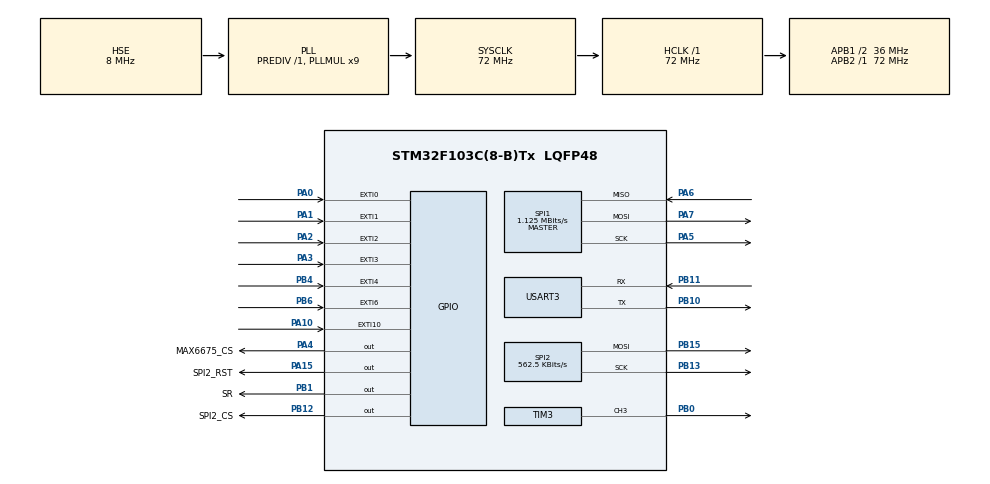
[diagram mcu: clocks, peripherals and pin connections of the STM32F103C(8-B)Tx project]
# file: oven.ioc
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Dma.Request0=SPI1_RX
Dma.Request1=SPI1_TX
Dma.SPI1_RX.0.Direction=DMA_PERIPH_TO_MEMORY
Dma.SPI1_RX.0.Instance=DMA1_Channel2
Dma.SPI1_RX.0.MemDataAlignment=DMA_MDATAALIGN_BYTE
Dma.SPI1_RX.0.MemInc=DMA_MINC_ENABLE
Dma.SPI1_RX.0.Mode=DMA_NORMAL
Dma.SPI1_RX.0.PeriphDataAlignment=DMA_PDATAALIGN_BYTE
Dma.SPI1_RX.0.PeriphInc=DMA_PINC_DISABLE
Dma.SPI1_RX.0.Priority=DMA_PRIORITY_VERY_HIGH
Dma.SPI1_TX.1.Direction=DMA_MEMORY_TO_PERIPH
Dma.SPI1_TX.1.Instance=DMA1_Channel3
Dma.SPI1_TX.1.MemDataAlignment=DMA_MDATAALIGN_BYTE
Dma.SPI1_TX.1.MemInc=DMA_MINC_ENABLE
Dma.SPI1_TX.1.Mode=DMA_NORMAL
Dma.SPI1_TX.1.PeriphDataAlignment=DMA_PDATAALIGN_BYTE
Dma.SPI1_TX.1.PeriphInc=DMA_PINC_DISABLE
Dma.SPI1_TX.1.Priority=DMA_PRIORITY_VERY_HIGH
Mcu.Family=STM32F1
Mcu.Name=STM32F103C(8-B)Tx
Mcu.Package=LQFP48
NVIC.DMA1_Channel2_IRQn=true\:14\:0\:true\:false\:true\:false\:true\:true
NVIC.DMA1_Channel3_IRQn=true\:14\:0\:true\:false\:true\:false\:true\:true
NVIC.EXTI0_IRQn=true\:15\:0\:true\:false\:true\:true\:true\:true
NVIC.EXTI15_10_IRQn=true\:15\:0\:true\:false\:true\:true\:true\:true
NVIC.EXTI1_IRQn=true\:15\:0\:true\:false\:true\:true\:true\:true
NVIC.EXTI2_IRQn=true\:15\:0\:true\:false\:true\:true\:true\:true
NVIC.EXTI3_IRQn=true\:15\:0\:true\:false\:true\:true\:true\:true
NVIC.EXTI4_IRQn=true\:15\:0\:true\:false\:true\:true\:true\:true
NVIC.EXTI9_5_IRQn=true\:15\:0\:true\:false\:true\:true\:true\:true
NVIC.PriorityGroup=NVIC_PRIORITYGROUP_4
NVIC.RTC_IRQn=true\:15\:0\:true\:false\:true\:true\:true\:true
NVIC.TIM3_IRQn=true\:15\:0\:true\:false\:true\:true\:true\:true
NVIC.TIM4_IRQn=true\:15\:0\:true\:false\:true\:true\:true\:true
NVIC.USART3_IRQn=true\:14\:0\:true\:false\:true\:true\:false\:true
PA0-WKUP.GPIO_ModeDefaultEXTI=GPIO_MODE_IT_RISING_FALLING
PA0-WKUP.GPIO_PuPd=GPIO_PULLUP
PA0-WKUP.Signal=GPXTI0
PA1.GPIO_ModeDefaultEXTI=GPIO_MODE_IT_RISING_FALLING
PA1.GPIO_PuPd=GPIO_PULLUP
PA1.Signal=GPXTI1
PA10.GPIO_ModeDefaultEXTI=GPIO_MODE_IT_FALLING
PA10.Signal=GPXTI10
PA13.Mode=Serial_Wire
PA13.Signal=SYS_JTMS-SWDIO
PA14.Mode=Serial_Wire
PA14.Signal=SYS_JTCK-SWCLK
PA15.GPIO_Label=SPI2_RST
PA15.GPIO_PuPd=GPIO_NOPULL
PA15.GPIO_Speed=GPIO_SPEED_FREQ_HIGH
PA15.PinState=GPIO_PIN_SET
PA15.Signal=GPIO_Output
PA2.GPIO_ModeDefaultEXTI=GPIO_MODE_IT_RISING_FALLING
PA2.GPIO_PuPd=GPIO_PULLUP
PA2.Signal=GPXTI2
PA3.GPIO_ModeDefaultEXTI=GPIO_MODE_IT_RISING_FALLING
PA3.GPIO_PuPd=GPIO_PULLUP
PA3.Signal=GPXTI3
PA4.GPIO_Label=MAX6675_CS
PA4.GPIO_Speed=GPIO_SPEED_FREQ_HIGH
PA4.Signal=GPIO_Output
PA5.Mode=Full_Duplex_Master
PA5.Signal=SPI1_SCK
PA6.Mode=Full_Duplex_Master
PA6.Signal=SPI1_MISO
PA7.Mode=Full_Duplex_Master
PA7.Signal=SPI1_MOSI
PB0.GPIO_Speed=GPIO_SPEED_FREQ_HIGH
PB0.Signal=S_TIM3_CH3
PB1.GPIO_Label=SR
PB1.Signal=GPIO_Output
PB10.Mode=Asynchronous
PB10.Signal=USART3_TX
PB11.Mode=Asynchronous
PB11.Signal=USART3_RX
PB12.GPIO_Label=SPI2_CS
PB12.GPIO_PuPd=GPIO_NOPULL
PB12.GPIO_Speed=GPIO_SPEED_FREQ_HIGH
PB12.PinState=GPIO_PIN_SET
PB12.Signal=GPIO_Output
PB13.Mode=TX_Only_Simplex_Unidirect_Master
PB13.Signal=SPI2_SCK
PB15.Mode=TX_Only_Simplex_Unidirect_Master
PB15.Signal=SPI2_MOSI
PB4.GPIO_ModeDefaultEXTI=GPIO_MODE_IT_RISING_FALLING
PB4.GPIO_PuPd=GPIO_PULLUP
PB4.Signal=GPXTI4
PB6.GPIO_ModeDefaultEXTI=GPIO_MODE_IT_FALLING
PB6.Signal=GPXTI6
PC14-OSC32_IN.Mode=LSE-External-Oscillator
PC14-OSC32_IN.Signal=RCC_OSC32_IN
PC15-OSC32_OUT.Mode=LSE-External-Oscillator
PC15-OSC32_OUT.Signal=RCC_OSC32_OUT
PD0-OSC_IN.Mode=HSE-External-Oscillator
PD0-OSC_IN.Signal=RCC_OSC_IN
PD1-OSC_OUT.Mode=HSE-External-Oscillator
PD1-OSC_OUT.Signal=RCC_OSC_OUT
ProjectManager.HeapSize=0x200
ProjectManager.StackSize=0x400
ProjectManager.TargetToolchain=STM32CubeIDE
RCC.AHBFreq_Value=72000000
RCC.APB1CLKDivider=RCC_HCLK_DIV2
RCC.APB1Freq_Value=36000000
RCC.APB1TimFreq_Value=72000000
RCC.APB2Freq_Value=72000000
RCC.APB2TimFreq_Value=72000000
RCC.HCLKFreq_Value=72000000
RCC.PLLMUL=RCC_PLL_MUL9
RCC.PLLSourceVirtual=RCC_PLLSOURCE_HSE
RCC.RTCClockSelection=RCC_RTCCLKSOURCE_LSE
RCC.SYSCLKFreq_VALUE=72000000
RCC.SYSCLKSource=RCC_SYSCLKSOURCE_PLLCLK
RCC.USBFreq_Value=72000000
RTC.Format=RTC_FORMAT_BIN
RTC.OutPut=RTC_OUTPUTSOURCE_ALARM
SH.S_TIM3_CH3.0=TIM3_CH3,PWM Generation3 CH3
SPI1.BaudRatePrescaler=SPI_BAUDRATEPRESCALER_64
SPI1.CRCCalculation=SPI_CRCCALCULATION_DISABLE
SPI1.CalculateBaudRate=1.125 MBits/s
SPI1.DataSize=SPI_DATASIZE_8BIT
SPI1.Direction=SPI_DIRECTION_2LINES
SPI1.Mode=SPI_MODE_MASTER
SPI1.VirtualType=VM_MASTER
SPI2.BaudRatePrescaler=SPI_BAUDRATEPRESCALER_64
SPI2.CLKPhase=SPI_PHASE_2EDGE
SPI2.CRCCalculation=SPI_CRCCALCULATION_DISABLE
SPI2.CalculateBaudRate=562.5 KBits/s
SPI2.Direction=SPI_DIRECTION_2LINES
SPI2.Mode=SPI_MODE_MASTER
SPI2.VirtualType=VM_MASTER
TIM3.Channel-PWM\ Generation3\ CH3=TIM_CHANNEL_3
TIM3.OCMode_PWM-PWM\ Generation3\ CH3=TIM_OCMODE_PWM1
TIM3.Prescaler=71
TIM3.TIM_MasterOutputTrigger=TIM_TRGO_RESET
TIM4.Period=548
TIM4.Prescaler=65535
TIM4.TIM_MasterOutputTrigger=TIM_TRGO_UPDATE
USART3.VirtualMode=VM_ASYNC
VP_RTC_VS_RTC_Activate.Mode=RTC_Enabled
VP_RTC_VS_RTC_Calendar.Mode=RTC_Calendar
VP_TIM3_VS_ClockSourceINT.Mode=Internal
VP_TIM4_VS_ClockSourceINT.Mode=Internal
board=custom

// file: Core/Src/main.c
/* USER CODE BEGIN Header */
/**
 ******************************************************************************
 * @file           : main.c
 * @brief          : Main program body
 ******************************************************************************
 * @attention
 *
 * <h2><center>&copy; Copyright (c) 2020 STMicroelectronics.
 * All rights reserved.</center></h2>
 *
 * This software component is licensed by ST under BSD 3-Clause license,
 * the "License"; You may not use this file except in compliance with the
 * License. You may obtain a copy of the License at:
 *                        opensource.org/licenses/BSD-3-Clause
 *
 ******************************************************************************
 */
/* USER CODE END Header */
#include "main.h"

/* USER CODE BEGIN Includes */
#include <stdio.h>
#include "u8g2/csrc/u8g2.h"
#include <music.h>
#include <string.h>
#include <hotplaces.h>
#include <max6675.h>
#include <stdlib.h>
#include <esp_01.h>
/* USER CODE END Includes */

/* USER CODE BEGIN PD */
//#define bitmap_width 64
//#define bitmap_height 16
/* USER CODE END PD */

RTC_HandleTypeDef hrtc;

SPI_HandleTypeDef hspi1;
SPI_HandleTypeDef hspi2;
DMA_HandleTypeDef hdma_spi1_rx;
DMA_HandleTypeDef hdma_spi1_tx;

TIM_HandleTypeDef htim3;
TIM_HandleTypeDef htim4;

UART_HandleTypeDef huart3;

/* USER CODE BEGIN PV */
Button btn[5];
uint16_t btns, pointer, pointer_max;
_Bool update;
music_t Music;
TIM_Encoder_InitTypeDef sConfig = { };

u8g2_t u8g2;
Oven oven = { };
Hotplace hotplace[3] = { };
relay_t relay = { };
uint32_t reg = 25; //25 degrees Celsius
SoundTypeDef Notes[MUSICSIZE] = { { C * 2, t4 }, { G, t4 }, { A_, t8 }, {
F, t8 }, { D_, t8 }, { F, t8 }, { G, t4 }, { C, t2 }, { C * 2, t4 }, {
G, t4 }, { A_, t8 }, { F, t8 }, { D_, t8 }, { F, t8 }, { G, t4 }, { C * 2, t4 },
		{ 0, t8 }, { D_, t8 }, { D_, t8 }, { D_, t8 }, { G, t8 }, {
		A_, t4 }, { D_ * 2, t8 }, { C_ * 2, t8 }, { C * 2, t8 }, { C * 2, t8 },
		{ C * 2, t8 }, { C * 2, t8 }, { A_, t8 }, { F, t8 }, { D_, t8 },
		{ F, t8 }, { G, t4 }, { C * 2, t2 }, { C * 2, t2 }, { A_, t8 },
		{ G_, t8 }, { G, t8 }, { G_, t8 }, { A_, t2 }, { A_, t4 },
		{ C * 2, t4 }, { A_, t8 }, { F, t8 }, { D_, t8 }, { F, t8 }, { G, t4 },
		{ C * 2, t2 } };
_Bool isSilentStop = 1;
/* USER CODE END PV */

void SystemClock_Config(void);
static void MX_GPIO_Init(void);
static void MX_DMA_Init(void);
static void MX_SPI2_Init(void);
static void MX_TIM3_Init(void);
static void MX_RTC_Init(void);
static void MX_SPI1_Init(void);
static void MX_TIM4_Init(void);
static void MX_USART3_UART_Init(void);
/* USER CODE BEGIN PFP */
uint8_t U8x8Stm32GPIOAndDelay(u8x8_t *u8x8, uint8_t msg, uint8_t arg_int,
		void *arg_ptr);
uint8_t U8x8ByteSTM32HWSPI(u8x8_t *u8x8, uint8_t msg, uint8_t arg_int,
		void *arg_ptr);
static BTN_STATE EventFlag(Button *btn);
//static void RTC_TimeShow(uint8_t *showtime);
static void BtnCheck(void);
static void MainMenu(void);
static void HotplaceMenu(uint8_t arg);
static void OvenMenu(uint8_t arg);
static uint8_t TemperatureMenuH(uint8_t arg);
static uint16_t TemperatureMenuO(uint8_t arg);
static RTC_TimeTypeDef TimeMenu(uint8_t arg);
static uint16_t StateMenuO(uint8_t arg);
//static void CustomAlgorithm(uint8_t arg);
/* USER CODE END PFP */

int main(void)
{
  /* USER CODE BEGIN 1 */
	RTC_TimeTypeDef *time = calloc(1, sizeof(RTC_TimeTypeDef));
	pointer = 0;
	btns = 0;
	pointer_max = 0xffff;
	update = 1;
	for (uint8_t i = 0; i < 5; i++) {
		btn[i].time_key = 0;
		btn[i].exti = (IRQn_Type) ((int) EXTI0_IRQn + i);
		btn[i].key_state = GPIO_PIN_SET;
		btn[i].short_state = 0;
		btn[i].long_state = 0;
	}
  /* USER CODE END 1 */

  /* MCU Configuration--------------------------------------------------------*/

  /* Reset of all peripherals, Initializes the Flash interface and the Systick. */
  HAL_Init();

  /* Configure the system clock */
  SystemClock_Config();

  /* Initialize all configured peripherals */
  MX_GPIO_Init();
  MX_DMA_Init();
  MX_SPI2_Init();
  MX_TIM3_Init();
  MX_RTC_Init();
  MX_SPI1_Init();
  MX_TIM4_Init();
  MX_USART3_UART_Init();
  /* USER CODE BEGIN 2 */
	u8g2_Setup_st7920_s_128x64_f(&u8g2, U8G2_R0, U8x8ByteSTM32HWSPI,
			U8x8Stm32GPIOAndDelay);
	u8g2_InitDisplay(&u8g2); // send init sequence to the display, display is in sleep mode after this,
	u8g2_SetPowerSave(&u8g2, 0); // wake up display
	u8g2_SetFont(&u8g2, u8g2_font_6x12_t_cyrillic);
	u8g2_SetFontDirection(&u8g2, 0);

#ifdef Debug_WIFI
	esp_Init();
#endif
	TEMPLATE(SetCustomProfile, Oven)(&oven, 0, 0, time);
	free(time);
	cs_strob();
	SetState(&oven, hotplace);
	HAL_TIM_Base_Start_IT(&htim4);
	HAL_RTCEx_SetSecond_IT(&hrtc);
	MainMenu();
  /* USER CODE END 2 */

  /* Infinite loop */
	while (1) {

	}
}

void SystemClock_Config(void)
{
  RCC_OscInitTypeDef RCC_OscInitStruct = {0};
  RCC_ClkInitTypeDef RCC_ClkInitStruct = {0};
  RCC_PeriphCLKInitTypeDef PeriphClkInit = {0};

  /** Initializes the RCC Oscillators according to the specified parameters
  * in the RCC_OscInitTypeDef structure.
  */
  RCC_OscInitStruct.OscillatorType = RCC_OSCILLATORTYPE_HSE|RCC_OSCILLATORTYPE_LSE;
  RCC_OscInitStruct.HSEState = RCC_HSE_ON;
  RCC_OscInitStruct.HSEPredivValue = RCC_HSE_PREDIV_DIV1;
  RCC_OscInitStruct.LSEState = RCC_LSE_ON;
  RCC_OscInitStruct.HSIState = RCC_HSI_ON;
  RCC_OscInitStruct.PLL.PLLState = RCC_PLL_ON;
  RCC_OscInitStruct.PLL.PLLSource = RCC_PLLSOURCE_HSE;
  RCC_OscInitStruct.PLL.PLLMUL = RCC_PLL_MUL9;
  if (HAL_RCC_OscConfig(&RCC_OscInitStruct) != HAL_OK)
  {
    Error_Handler();
  }

  /** Initializes the CPU, AHB and APB buses clocks
  */
  RCC_ClkInitStruct.ClockType = RCC_CLOCKTYPE_HCLK|RCC_CLOCKTYPE_SYSCLK
                              |RCC_CLOCKTYPE_PCLK1|RCC_CLOCKTYPE_PCLK2;
  RCC_ClkInitStruct.SYSCLKSource = RCC_SYSCLKSOURCE_PLLCLK;
  RCC_ClkInitStruct.AHBCLKDivider = RCC_SYSCLK_DIV1;
  RCC_ClkInitStruct.APB1CLKDivider = RCC_HCLK_DIV2;
  RCC_ClkInitStruct.APB2CLKDivider = RCC_HCLK_DIV1;

  if (HAL_RCC_ClockConfig(&RCC_ClkInitStruct, FLASH_LATENCY_2) != HAL_OK)
  {
    Error_Handler();
  }
  PeriphClkInit.PeriphClockSelection = RCC_PERIPHCLK_RTC;
  PeriphClkInit.RTCClockSelection = RCC_RTCCLKSOURCE_LSE;
  if (HAL_RCCEx_PeriphCLKConfig(&PeriphClkInit) != HAL_OK)
  {
    Error_Handler();
  }
}

static void MX_RTC_Init(void)
{

  RTC_TimeTypeDef sTime = {0};
  RTC_DateTypeDef DateToUpdate = {0};

  /* USER CODE BEGIN RTC_Init 1 */
	//RTC_AlarmTypeDef sAlarm = {};
  /* USER CODE END RTC_Init 1 */

  /** Initialize RTC Only
  */
  hrtc.Instance = RTC;
  hrtc.Init.AsynchPrediv = RTC_AUTO_1_SECOND;
  hrtc.Init.OutPut = RTC_OUTPUTSOURCE_ALARM;
  if (HAL_RTC_Init(&hrtc) != HAL_OK)
  {
    Error_Handler();
  }

  /** Initialize RTC and set the Time and Date
  */
  sTime.Hours = 0;
  sTime.Minutes = 0;
  sTime.Seconds = 0;

  if (HAL_RTC_SetTime(&hrtc, &sTime, RTC_FORMAT_BIN) != HAL_OK)
  {
    Error_Handler();
  }
  DateToUpdate.WeekDay = RTC_WEEKDAY_MONDAY;
  DateToUpdate.Month = RTC_MONTH_JANUARY;
  DateToUpdate.Date = 1;
  DateToUpdate.Year = 0;

  if (HAL_RTC_SetDate(&hrtc, &DateToUpdate, RTC_FORMAT_BIN) != HAL_OK)
  {
    Error_Handler();
  }
  /* USER CODE BEGIN RTC_Init 2 */

//	sAlarm.Alarm = RTC_ALARM_A;
//	sAlarm.AlarmTime.Hours = 0;
//	sAlarm.AlarmTime.Minutes = 0;
//	sAlarm.AlarmTime.Seconds = 30;
//
//	if (HAL_RTC_SetAlarm_IT(&hrtc, &sAlarm, RTC_FORMAT_BIN) != HAL_OK) {
//		Error_Handler();
//	}
//
//	HAL_NVIC_SetPriority(RTC_Alarm_IRQn, 0x0F, 0);
//	HAL_NVIC_EnableIRQ(RTC_Alarm_IRQn);
  /* USER CODE END RTC_Init 2 */

}

static void MX_SPI1_Init(void)
{

  /* SPI1 parameter configuration*/
  hspi1.Instance = SPI1;
  hspi1.Init.Mode = SPI_MODE_MASTER;
  hspi1.Init.Direction = SPI_DIRECTION_2LINES;
  hspi1.Init.DataSize = SPI_DATASIZE_8BIT;
  hspi1.Init.CLKPolarity = SPI_POLARITY_LOW;
  hspi1.Init.CLKPhase = SPI_PHASE_1EDGE;
  hspi1.Init.NSS = SPI_NSS_SOFT;
  hspi1.Init.BaudRatePrescaler = SPI_BAUDRATEPRESCALER_64;
  hspi1.Init.FirstBit = SPI_FIRSTBIT_MSB;
  hspi1.Init.TIMode = SPI_TIMODE_DISABLE;
  hspi1.Init.CRCCalculation = SPI_CRCCALCULATION_DISABLE;
  hspi1.Init.CRCPolynomial = 10;
  if (HAL_SPI_Init(&hspi1) != HAL_OK)
  {
    Error_Handler();
  }

}

static void MX_SPI2_Init(void)
{

  /* SPI2 parameter configuration*/
  hspi2.Instance = SPI2;
  hspi2.Init.Mode = SPI_MODE_MASTER;
  hspi2.Init.Direction = SPI_DIRECTION_2LINES;
  hspi2.Init.DataSize = SPI_DATASIZE_8BIT;
  hspi2.Init.CLKPolarity = SPI_POLARITY_LOW;
  hspi2.Init.CLKPhase = SPI_PHASE_2EDGE;
  hspi2.Init.NSS = SPI_NSS_SOFT;
  hspi2.Init.BaudRatePrescaler = SPI_BAUDRATEPRESCALER_64;
  hspi2.Init.FirstBit = SPI_FIRSTBIT_MSB;
  hspi2.Init.TIMode = SPI_TIMODE_DISABLE;
  hspi2.Init.CRCCalculation = SPI_CRCCALCULATION_DISABLE;
  hspi2.Init.CRCPolynomial = 10;
  if (HAL_SPI_Init(&hspi2) != HAL_OK)
  {
    Error_Handler();
  }

}

static void MX_TIM3_Init(void)
{

  TIM_ClockConfigTypeDef sClockSourceConfig = {0};
  TIM_MasterConfigTypeDef sMasterConfig = {0};
  TIM_OC_InitTypeDef sConfigOC = {0};

  htim3.Instance = TIM3;
  htim3.Init.Prescaler = 71;
  htim3.Init.CounterMode = TIM_COUNTERMODE_UP;
  htim3.Init.Period = 65535;
  htim3.Init.ClockDivision = TIM_CLOCKDIVISION_DIV1;
  htim3.Init.AutoReloadPreload = TIM_AUTORELOAD_PRELOAD_DISABLE;
  if (HAL_TIM_Base_Init(&htim3) != HAL_OK)
  {
    Error_Handler();
  }
  sClockSourceConfig.ClockSource = TIM_CLOCKSOURCE_INTERNAL;
  if (HAL_TIM_ConfigClockSource(&htim3, &sClockSourceConfig) != HAL_OK)
  {
    Error_Handler();
  }
  if (HAL_TIM_PWM_Init(&htim3) != HAL_OK)
  {
    Error_Handler();
  }
  sMasterConfig.MasterOutputTrigger = TIM_TRGO_RESET;
  sMasterConfig.MasterSlaveMode = TIM_MASTERSLAVEMODE_DISABLE;
  if (HAL_TIMEx_MasterConfigSynchronization(&htim3, &sMasterConfig) != HAL_OK)
  {
    Error_Handler();
  }
  sConfigOC.OCMode = TIM_OCMODE_PWM1;
  sConfigOC.Pulse = 0;
  sConfigOC.OCPolarity = TIM_OCPOLARITY_HIGH;
  sConfigOC.OCFastMode = TIM_OCFAST_DISABLE;
  if (HAL_TIM_PWM_ConfigChannel(&htim3, &sConfigOC, TIM_CHANNEL_3) != HAL_OK)
  {
    Error_Handler();
  }
  HAL_TIM_MspPostInit(&htim3);

}

static void MX_TIM4_Init(void)
{

  TIM_ClockConfigTypeDef sClockSourceConfig = {0};
  TIM_MasterConfigTypeDef sMasterConfig = {0};

  htim4.Instance = TIM4;
  htim4.Init.Prescaler = 65535;
  htim4.Init.CounterMode = TIM_COUNTERMODE_UP;
  htim4.Init.Period = 548;
  htim4.Init.ClockDivision = TIM_CLOCKDIVISION_DIV1;
  htim4.Init.AutoReloadPreload = TIM_AUTORELOAD_PRELOAD_DISABLE;
  if (HAL_TIM_Base_Init(&htim4) != HAL_OK)
  {
    Error_Handler();
  }
  sClockSourceConfig.ClockSource = TIM_CLOCKSOURCE_INTERNAL;
  if (HAL_TIM_ConfigClockSource(&htim4, &sClockSourceConfig) != HAL_OK)
  {
    Error_Handler();
  }
  sMasterConfig.MasterOutputTrigger = TIM_TRGO_UPDATE;
  sMasterConfig.MasterSlaveMode = TIM_MASTERSLAVEMODE_DISABLE;
  if (HAL_TIMEx_MasterConfigSynchronization(&htim4, &sMasterConfig) != HAL_OK)
  {
    Error_Handler();
  }

}

static void MX_USART3_UART_Init(void)
{

  huart3.Instance = USART3;
  huart3.Init.BaudRate = 115200;
  huart3.Init.WordLength = UART_WORDLENGTH_8B;
  huart3.Init.StopBits = UART_STOPBITS_1;
  huart3.Init.Parity = UART_PARITY_NONE;
  huart3.Init.Mode = UART_MODE_TX_RX;
  huart3.Init.HwFlowCtl = UART_HWCONTROL_NONE;
  huart3.Init.OverSampling = UART_OVERSAMPLING_16;
  if (HAL_UART_Init(&huart3) != HAL_OK)
  {
    Error_Handler();
  }

}

static void MX_DMA_Init(void)
{

  /* DMA controller clock enable */
  __HAL_RCC_DMA1_CLK_ENABLE();

  /* DMA interrupt init */
  /* DMA1_Channel2_IRQn interrupt configuration */
  HAL_NVIC_SetPriority(DMA1_Channel2_IRQn, 14, 0);
  HAL_NVIC_EnableIRQ(DMA1_Channel2_IRQn);
  /* DMA1_Channel3_IRQn interrupt configuration */
  HAL_NVIC_SetPriority(DMA1_Channel3_IRQn, 14, 0);
  HAL_NVIC_EnableIRQ(DMA1_Channel3_IRQn);

}

static void MX_GPIO_Init(void)
{
  GPIO_InitTypeDef GPIO_InitStruct = {0};

  /* GPIO Ports Clock Enable */
  __HAL_RCC_GPIOC_CLK_ENABLE();
  __HAL_RCC_GPIOD_CLK_ENABLE();
  __HAL_RCC_GPIOA_CLK_ENABLE();
  __HAL_RCC_GPIOB_CLK_ENABLE();

  /*Configure GPIO pin Output Level */
  HAL_GPIO_WritePin(MAX6675_CS_GPIO_Port, MAX6675_CS_Pin, GPIO_PIN_RESET);

  /*Configure GPIO pin Output Level */
  HAL_GPIO_WritePin(SR_GPIO_Port, SR_Pin, GPIO_PIN_RESET);

  /*Configure GPIO pin Output Level */
  HAL_GPIO_WritePin(SPI2_CS_GPIO_Port, SPI2_CS_Pin, GPIO_PIN_SET);

  /*Configure GPIO pin Output Level */
  HAL_GPIO_WritePin(SPI2_RST_GPIO_Port, SPI2_RST_Pin, GPIO_PIN_SET);

  /*Configure GPIO pins : PA0 PA1 PA2 PA3 */
  GPIO_InitStruct.Pin = GPIO_PIN_0|GPIO_PIN_1|GPIO_PIN_2|GPIO_PIN_3;
  GPIO_InitStruct.Mode = GPIO_MODE_IT_RISING_FALLING;
  GPIO_InitStruct.Pull = GPIO_PULLUP;
  HAL_GPIO_Init(GPIOA, &GPIO_InitStruct);

  /*Configure GPIO pins : MAX6675_CS_Pin SPI2_RST_Pin */
  GPIO_InitStruct.Pin = MAX6675_CS_Pin|SPI2_RST_Pin;
  GPIO_InitStruct.Mode = GPIO_MODE_OUTPUT_PP;
  GPIO_InitStruct.Pull = GPIO_NOPULL;
  GPIO_InitStruct.Speed = GPIO_SPEED_FREQ_HIGH;
  HAL_GPIO_Init(GPIOA, &GPIO_InitStruct);

  /*Configure GPIO pin : SR_Pin */
  GPIO_InitStruct.Pin = SR_Pin;
  GPIO_InitStruct.Mode = GPIO_MODE_OUTPUT_PP;
  GPIO_InitStruct.Pull = GPIO_NOPULL;
  GPIO_InitStruct.Speed = GPIO_SPEED_FREQ_LOW;
  HAL_GPIO_Init(SR_GPIO_Port, &GPIO_InitStruct);

  /*Configure GPIO pin : SPI2_CS_Pin */
  GPIO_InitStruct.Pin = SPI2_CS_Pin;
  GPIO_InitStruct.Mode = GPIO_MODE_OUTPUT_PP;
  GPIO_InitStruct.Pull = GPIO_NOPULL;
  GPIO_InitStruct.Speed = GPIO_SPEED_FREQ_HIGH;
  HAL_GPIO_Init(SPI2_CS_GPIO_Port, &GPIO_InitStruct);

  /*Configure GPIO pin : PA10 */
  GPIO_InitStruct.Pin = GPIO_PIN_10;
  GPIO_InitStruct.Mode = GPIO_MODE_IT_FALLING;
  GPIO_InitStruct.Pull = GPIO_NOPULL;
  HAL_GPIO_Init(GPIOA, &GPIO_InitStruct);

  /*Configure GPIO pin : PB4 */
  GPIO_InitStruct.Pin = GPIO_PIN_4;
  GPIO_InitStruct.Mode = GPIO_MODE_IT_RISING_FALLING;
  GPIO_InitStruct.Pull = GPIO_PULLUP;
  HAL_GPIO_Init(GPIOB, &GPIO_InitStruct);

  /*Configure GPIO pin : PB6 */
  GPIO_InitStruct.Pin = GPIO_PIN_6;
  GPIO_InitStruct.Mode = GPIO_MODE_IT_FALLING;
  GPIO_InitStruct.Pull = GPIO_NOPULL;
  HAL_GPIO_Init(GPIOB, &GPIO_InitStruct);

  /* EXTI interrupt init*/
  HAL_NVIC_SetPriority(EXTI0_IRQn, 15, 0);
  HAL_NVIC_EnableIRQ(EXTI0_IRQn);

  HAL_NVIC_SetPriority(EXTI1_IRQn, 15, 0);
  HAL_NVIC_EnableIRQ(EXTI1_IRQn);

  HAL_NVIC_SetPriority(EXTI2_IRQn, 15, 0);
  HAL_NVIC_EnableIRQ(EXTI2_IRQn);

  HAL_NVIC_SetPriority(EXTI3_IRQn, 15, 0);
  HAL_NVIC_EnableIRQ(EXTI3_IRQn);

  HAL_NVIC_SetPriority(EXTI4_IRQn, 15, 0);
  HAL_NVIC_EnableIRQ(EXTI4_IRQn);

  HAL_NVIC_SetPriority(EXTI9_5_IRQn, 15, 0);
  HAL_NVIC_EnableIRQ(EXTI9_5_IRQn);

  HAL_NVIC_SetPriority(EXTI15_10_IRQn, 15, 0);
  HAL_NVIC_EnableIRQ(EXTI15_10_IRQn);

}

/* USER CODE BEGIN 4 */
uint8_t U8x8Stm32GPIOAndDelay(u8x8_t *u8x8, uint8_t msg, uint8_t arg_int,
		void *arg_ptr) {
	/* STM32 supports HW SPI, Remove unused cases like U8X8_MSG_DELAY_XXX & U8X8_MSG_GPIO_XXX */
	switch (msg) {
	case U8X8_MSG_GPIO_AND_DELAY_INIT:
		/* Insert codes for initialization */
		break;
	case U8X8_MSG_DELAY_MILLI:
		/* ms Delay */
		//HAL_Delay(arg_int);
		break;
	case U8X8_MSG_GPIO_CS:
		/* Insert codes for SS pin control */
		HAL_GPIO_WritePin(SPI2_CS_GPIO_Port, SPI2_CS_Pin, arg_int);
		break;
	case U8X8_MSG_GPIO_DC:
		/* Insert codes for DC pin control */
		//HAL_GPIO_WritePin(OLED_DC_GPIO_Port, OLED_DC_Pin, arg_int);
		break;
	case U8X8_MSG_GPIO_RESET:
		/* Insert codes for RST pin control */
		HAL_GPIO_WritePin(SPI2_RST_GPIO_Port, SPI2_RST_Pin, arg_int);
		break;
	default:
		//u8x8_SetGPIOResult(u8x8, 1);
		return 1;
	}
	return 1;
}

uint8_t U8x8ByteSTM32HWSPI(u8x8_t *u8x8, uint8_t msg, uint8_t arg_int,
		void *arg_ptr) {
	switch (msg) {
	case U8X8_MSG_BYTE_SEND:
		/* Insert codes to transmit data */
		if (HAL_SPI_Transmit(&hspi2, arg_ptr, arg_int, 1000) != HAL_OK)
			return 0;
		break;
	case U8X8_MSG_BYTE_INIT:
		/* Insert codes to begin SPI transmission */
		break;
	case U8X8_MSG_BYTE_SET_DC:
		/* Control DC pin, U8X8_MSG_GPIO_DC will be called */
		u8x8_gpio_SetDC(u8x8, arg_int);
		break;
	case U8X8_MSG_BYTE_START_TRANSFER:
		/* Select slave, U8X8_MSG_GPIO_CS will be called */
		u8x8_gpio_SetCS(u8x8, u8x8->display_info->chip_enable_level);
		__NOP();
		break;
	case U8X8_MSG_BYTE_END_TRANSFER:
		__NOP();
		/* Insert codes to end SPI transmission */
		u8x8_gpio_SetCS(u8x8, u8x8->display_info->chip_disable_level);
		break;
	default:
		return 0;
	}
	return 1;
}

void HAL_GPIO_EXTI_Callback(uint16_t GPIO_Pin) {
	update = 1;
}

static uint32_t max4(uint32_t a, uint32_t b, uint32_t c, uint32_t d) {
	return  a > b ?
				a > c ?
					a > d ? a : d
				: c > d ? c : d
			: b > c ?
					b > d ? b : d
				: c > d ? c : d;
}

void HAL_RTCEx_RTCEventCallback(RTC_HandleTypeDef *hrtc) {
	if (RTC_IT_SEC) {
		switch (max4(TEMPLATE(isNewState, Hotplace)(&hotplace[0]),
		TEMPLATE(isNewState, Hotplace)(&hotplace[1]),
		TEMPLATE(isNewState, Hotplace)(&hotplace[2]),
		TEMPLATE(isNewState, Oven)(&oven))) {
		case 2:
			if (!isSilentStop)
				PlayMusic(&Music, Notes, &htim3, MUSICSIZE, PRESCALER,
				TIM_CHANNEL_3);
			isSilentStop = 0;
		case 1:
			SetState(&oven, hotplace);
#ifdef Debug_WIFI
			WIFIDebug(&oven);
#endif
			break;
		default:
			break;
		}
		update = 1;
	}
}

static BTN_STATE EventFlag(Button *btn) {
	if (btn->key_state == 0 && !btn->short_state
			&& (HAL_GetTick() - btn->time_key) > 50) {
		btn->short_state = 1;
		btn->long_state = 0;
		btn->time_key = HAL_GetTick();
	} else if (btn->key_state == 0 && !btn->long_state
			&& (HAL_GetTick() - btn->time_key) > 650) {
		btn->long_state = 1;
		return BTN_STATE_LONG;
	} else if (btn->key_state == 1 && btn->short_state
			&& (HAL_GetTick() - btn->time_key) > 50) {
		btn->short_state = 0;
		btn->time_key = HAL_GetTick();

		if (!btn->long_state) {
			return BTN_STATE_SHORT;
		}
	}
	__HAL_GPIO_EXTI_CLEAR_IT(btn->exti);
	NVIC_ClearPendingIRQ(btn->exti);
	HAL_NVIC_EnableIRQ(btn->exti);

	return BTN_STATE_NOTHING;
}

//static void RTC_TimeShow(uint8_t *showtime) {
//	RTC_DateTypeDef sdatestructureget;
//	RTC_TimeTypeDef stimestructureget;
//	UNUSED(stimestructureget);
//
//	/* Get the RTC current Time */
//	HAL_RTC_GetTime(&hrtc, &stimestructureget, RTC_FORMAT_BIN);
//	/* Get the RTC current Date */
//	HAL_RTC_GetDate(&hrtc, &sdatestructureget, RTC_FORMAT_BIN);
//	/* Display time Format : hh:mm:ss */
//	sprintf((char*) showtime, "%02d:%02d:%02d", stimestructureget.Hours,
//			stimestructureget.Minutes, stimestructureget.Seconds);
//}

static void BtnCheck(void) {
	static uint32_t ms = 0;
	static uint16_t temp_btns = 0;
	if (HAL_GetTick() - ms > 200) {
		if (btns != temp_btns) {
			update = 1;
			btns = temp_btns;
			StopMusic(&Music);
		}
		temp_btns = 0;
		ms = HAL_GetTick();
	} else
		for (int i = 0; i < 5; ++i) {
			temp_btns |= ((uint16_t) EventFlag(&btn[i])) << (i * 2);
		}
}

static inline void MainMenu(void) {
	RTC_TimeTypeDef time;
	pointer = 0;
	MainMenu: ;
	pointer_max = 3;
	btns = 0;
	uint8_t stime[17];
	while (1) {
		BtnCheck();
		if (btns) {
			switch (btns) {
			case 0x0001: // short right
				memset(&time, 0, sizeof(RTC_TimeTypeDef));
				time.Minutes = 30;
				if (pointer != 3)
					TEMPLATE(SetCustomProfile, Hotplace)(&hotplace[pointer], pointer, 6, &time);
				else
					TEMPLATE(SetCustomProfile, Oven)(&oven, 4, 300, &time);
				break;
			case 0x0004: // short up
				memset(&time, 0, sizeof(RTC_TimeTypeDef));
				if (pointer != 3)
					TEMPLATE(SetCustomProfile, Hotplace)(&hotplace[pointer], pointer, 0, &time);
				else
					TEMPLATE(SetCustomProfile, Oven)(&oven, 0, 0, &time);
				isSilentStop = 1;
				break;
			case 0x0100: // short center
				if (pointer != 3)
					HotplaceMenu(pointer);
				else
					OvenMenu(pointer);
				goto MainMenu;
			default:
				break;
			}
			btns = 0;
		}
		if (update) {
			update = 0;
			u8g2_FirstPage(&u8g2);
			do {
				u8g2_SetDrawColor(&u8g2, 1);
				u8g2_DrawFrame(&u8g2, 0, 1, 15, 15);
				u8g2_DrawFilledEllipse(&u8g2, 14, 1, 7, 7,
				U8G2_DRAW_LOWER_LEFT);
				u8g2_DrawFrame(&u8g2, 0, 17, 15, 15);
				u8g2_DrawFilledEllipse(&u8g2, 14, 31, 7, 7,
				U8G2_DRAW_UPPER_LEFT);
				u8g2_DrawFrame(&u8g2, 0, 33, 15, 15);
				u8g2_DrawFilledEllipse(&u8g2, 0, 47, 7, 7,
				U8G2_DRAW_UPPER_RIGHT);
				u8g2_DrawFrame(&u8g2, 0, 49, 15, 15);
				if (oven.algorithm->profile[oven.step].state == LOWER
						|| oven.algorithm->profile[oven.step].state == POWERFUL)
					u8g2_DrawFilledEllipse(&u8g2, 7, 63, 7, 3,
					U8G2_DRAW_UPPER_LEFT | U8G2_DRAW_UPPER_RIGHT);
				if (oven.algorithm->profile[oven.step].state == UPPER
						|| oven.algorithm->profile[oven.step].state == POWERFUL)
					u8g2_DrawFilledEllipse(&u8g2, 7, 49, 7, 3,
					U8G2_DRAW_LOWER_LEFT | U8G2_DRAW_LOWER_RIGHT);
				if (relay.output) {
					u8g2_DrawVLine(&u8g2, 5, 54, 5);
					u8g2_DrawVLine(&u8g2, 9, 54, 5);
					u8g2_SetDrawColor(&u8g2, 2);
					u8g2_DrawHLine(&u8g2, 5, 56, 2);
					u8g2_DrawHLine(&u8g2, 9, 56, 2);
					u8g2_SetDrawColor(&u8g2, 1);
				}
				//RTC_TimeShow(stime);
				sprintf((char*) stime, "%02d:%02d:%02d %1d",
						hotplace[0].profile.time.Hours,
						hotplace[0].profile.time.Minutes,
						hotplace[0].profile.time.Seconds,
						TEMPLATE(GetState, HOTPLACE_STATE)(hotplace[0].profile.state));
				u8g2_DrawUTF8(&u8g2, 17, 16 * 1 - 2, (const char*) stime);
				sprintf((char*) stime, "%02d:%02d:%02d %1d",
						hotplace[1].profile.time.Hours,
						hotplace[1].profile.time.Minutes,
						hotplace[1].profile.time.Seconds,
						TEMPLATE(GetState, HOTPLACE_STATE)(hotplace[1].profile.state));
				u8g2_DrawUTF8(&u8g2, 17, 16 * 2 - 2, (const char*) stime);
				sprintf((char*) stime, "%02d:%02d:%02d %1d %3d00",
						hotplace[2].profile.time.Hours,
						hotplace[2].profile.time.Minutes,
						hotplace[2].profile.time.Seconds,
						TEMPLATE(GetState, HOTPLACE_STATE)(hotplace[2].profile.state),
						oven.profile.targetTemp);
				u8g2_DrawUTF8(&u8g2, 17, 16 * 3 - 2, (const char*) stime);
				sprintf((char*) stime, "%02d:%02d:%02d   %5d",
						oven.profile.time.Hours, oven.profile.time.Minutes,
						oven.profile.time.Seconds, (int) reg);
				u8g2_DrawUTF8(&u8g2, 17, 16 * 4 - 2, (const char*) stime);
				u8g2_SetDrawColor(&u8g2, 2);
				u8g2_DrawBox(&u8g2, 16, 1 + 16 * (pointer), 112, 15);

				//HAL_Delay(1200);
				//
				//u8g2_SetBitmapMode(&u8g2,1);
				//u8g2_DrawBitmap(&u8g2, 0, 0, bitmap_height, bitmap_width,  bitmap);

			} while (u8g2_NextPage(&u8g2));
		}
	}
}

// arg - Hotplace Number
static void HotplaceMenu(uint8_t arg) {
	pointer = 0;
	uint8_t temp = TEMPLATE(GetState, HOTPLACE_STATE)(hotplace[arg].profile.state), stime[30];
	RTC_TimeTypeDef time = hotplace[arg].profile.time;
	HotplaceMenu: ;
	pointer_max = 2;
	btns = 0;
	while (1) {
		BtnCheck();
		if (btns) {
			switch (btns) {
			case 0x0001: // short right
				if (temp == 0)
					temp = 6;
				if (time.Hours == 0 && time.Minutes == 0 && time.Seconds == 0)
					time.Minutes = 30;
				TEMPLATE(SetCustomProfile, Hotplace)(&hotplace[arg], arg, temp, &time);
				pointer = arg;
				return;
				break;
			case 0x0100: // short center
				switch (pointer) {
				case 0:
					temp = TemperatureMenuH(arg);
					break;
				case 1:
					time = TimeMenu(arg);
					break;
				case 2:
					if (temp == 0)
						temp = 6;
					if (time.Hours == 0 && time.Minutes == 0
							&& time.Seconds == 0)
						time.Minutes = 30;
					TEMPLATE(SetCustomProfile, Hotplace)(&hotplace[arg], arg, temp, &time);
					pointer = arg;
					return;
				default:
					break;
				}
				goto HotplaceMenu;
				break;
			case 0x0200: // long center
				pointer = arg;
				return; //back to MainMenu
			default:
				break;
			}
			btns = 0;
		}
		if (update) {
			update = 0;
			u8g2_FirstPage(&u8g2);
			do {

				u8g2_SetDrawColor(&u8g2, 1);

				u8g2_DrawFrame(&u8g2, 0, 1, 15, 15);
				if (arg == 0) {
					u8g2_DrawFilledEllipse(&u8g2, 14, 1, 7, 7,
					U8G2_DRAW_LOWER_LEFT);
				} else if (arg == 1) {
					u8g2_DrawFilledEllipse(&u8g2, 14, 14, 7, 7,
					U8G2_DRAW_UPPER_LEFT);
				} else if (arg == 2) {
					u8g2_DrawFilledEllipse(&u8g2, 0, 14, 7, 7,
					U8G2_DRAW_UPPER_RIGHT);
				}
				u8g2_DrawUTF8(&u8g2, 17, 14, "Меню");
				u8g2_DrawHLine(&u8g2, 0, 15, 128);
				sprintf((char*) stime, "Режим: %d", temp);
				u8g2_DrawUTF8(&u8g2, 1, 30, (const char*) stime);
				sprintf((char*) stime, "%02d:%02d:%02d", time.Hours,
						time.Minutes, time.Seconds);
				u8g2_DrawUTF8(&u8g2, 1, 46, (const char*) stime);
				u8g2_DrawUTF8(&u8g2, 1, 62, "OK");
				u8g2_SetDrawColor(&u8g2, 2);
				u8g2_DrawBox(&u8g2, 0, 1 + 16 * (pointer + 1), 128, 15);
			} while (u8g2_NextPage(&u8g2));
		}
	}
}

static void OvenMenu(uint8_t arg) {
	pointer = 0;
	uint16_t temp = oven.algorithm->profile[oven.step].targetTemp;
	uint8_t oState = TEMPLATE(GetState, OVEN_STATE)(oven.algorithm->profile[oven.step].state);
	RTC_TimeTypeDef time = oven.profile.time;
	uint8_t stime[30];
	char c[13];
	OvenMenu: ;
	pointer_max = 2;
	btns = 0;
	while (1) {
		BtnCheck();
		if (btns) {
			switch (btns) {
			case 0x0001: // short right
				if (oState == 0)
					oState = 4;
				if (temp == 0)
					temp = 300;
				if (time.Hours == 0 && time.Minutes == 0 && time.Seconds == 0)
					time.Minutes = 30;
				TEMPLATE(SetCustomProfile, Oven)(&oven, oState, temp, &time);
				pointer = arg;
				return;
				break;
			case 0x0100: // short center
				switch (pointer) {
				case 0:
					oState = StateMenuO(arg);
					break;
				case 1:
					time = TimeMenu(arg);
					break;
				case 2:
					temp = TemperatureMenuO(arg);
				default:
					break;
				}
				goto OvenMenu;
				break;
			case 0x0200: // long center
				pointer = arg;
				return; //back to MainMenu
			default:
				break;
			}
			btns = 0;
		}
		if (update) {
			update = 0;
			u8g2_FirstPage(&u8g2);
			do {

				u8g2_SetDrawColor(&u8g2, 1);

				u8g2_DrawUTF8(&u8g2, 0, 14, "Меню духовки");
				u8g2_DrawHLine(&u8g2, 0, 15, 128);
				switch (oState) {
				case 1:
					sprintf((char*) c, "Cлабо");
					break;
				case 2:
					sprintf((char*) c, "Низ");
					break;
				case 3:
					sprintf((char*) c, "Верх");
					break;
				case 4:
					sprintf((char*) c, "Сильно");
					break;
				default:
					sprintf((char*) c, "Выкл");
					break;
				}
				sprintf((char*) stime, "Режим:%s", c);
				u8g2_DrawUTF8(&u8g2, 1, 30, (const char*) stime);
				sprintf((char*) stime, "%02d:%02d:%02d", time.Hours,
						time.Minutes, time.Seconds);
				u8g2_DrawUTF8(&u8g2, 1, 46, (const char*) stime);
				sprintf((char*) stime, "Т = %d", temp);
				u8g2_DrawUTF8(&u8g2, 1, 62, (const char*) stime);
				u8g2_SetDrawColor(&u8g2, 2);
				u8g2_DrawBox(&u8g2, 0, 1 + 16 * (pointer + 1), 128, 15);
			} while (u8g2_NextPage(&u8g2));
		}
	}
}

// arg - Hotplace Number
// return temperature
static uint8_t TemperatureMenuH(uint8_t arg) {
	pointer_max = 6;
	pointer = 0;
	uint16_t temp;
	uint8_t poin[14];
	btns = 0;
	while (1) {
		BtnCheck();
		if (btns) {
			switch (btns) {
			case 0x0100: // short center -- OK
				temp = pointer;
				pointer = 0;
				return temp;
			case 0x0200: // long center -- cancel
				pointer = 0;
				return 0;
			default:
				break;
			}
			btns = 0;
		}
		if (update) {
			update = 0;
			do {
				u8g2_SetDrawColor(&u8g2, 0);
				u8g2_DrawBox(&u8g2, 0, 17, 128, 15);
				u8g2_SetDrawColor(&u8g2, 1);
				sprintf((char*) poin, "Режим: %d", pointer);
				u8g2_DrawUTF8(&u8g2, 1, 30, (const char*) poin);
				u8g2_SetDrawColor(&u8g2, 2);
				u8g2_DrawHLine(&u8g2, 0, 31, 128);
			} while (u8g2_NextPage(&u8g2));
		}
	}
}
static uint16_t TemperatureMenuO(uint8_t arg) {
	pointer_max = 60;
	pointer = 0;
	uint16_t temp;
	uint8_t poin[6];
	btns = 0;
	while (1) {
		BtnCheck();
		if (btns) {
			switch (btns) {
			case 0x0100: // short center -- OK
				temp = pointer * 5;
				pointer = 2;
				return temp;
			case 0x0200: // long center -- cancel
				pointer = 2;
				return 0;
			default:
				break;
			}
			btns = 0;
		}
		if (update) {
			update = 0;
			do {
				u8g2_SetDrawColor(&u8g2, 0);
				u8g2_DrawBox(&u8g2, 0, 49, 128, 15);
				u8g2_SetDrawColor(&u8g2, 1);
				sprintf((char*) poin, "T = %d", pointer * 5);
				u8g2_DrawUTF8(&u8g2, 1, 62, (const char*) poin);
				u8g2_SetDrawColor(&u8g2, 2);
				u8g2_DrawHLine(&u8g2, 0, 63, 128);
			} while (u8g2_NextPage(&u8g2));
		}
	}
}
// arg - Hotplace Number
static RTC_TimeTypeDef TimeMenu(uint8_t arg) {
	pointer = 0;
	RTC_TimeTypeDef tempTime = { };
	uint8_t stime[9];
	WE_CHANGE_TIME state = WE_CHANGE_HOURS;
	pointer_max = 23;
	btns = 0;
	while (1) {
		BtnCheck();
		if (btns) {
			switch (btns) {
			case 0x0001: // short right -- back
				switch (state) {
				case WE_CHANGE_HOURS:
					pointer = 1;
					memset(&tempTime, 0, sizeof(RTC_TimeTypeDef));
					return tempTime;
				case WE_CHANGE_MINUTES:
					state = WE_CHANGE_HOURS;
					pointer_max = 23;
					tempTime.Minutes = pointer;
					pointer = tempTime.Hours;
					break;
				case WE_CHANGE_SECONDS:
					state = WE_CHANGE_MINUTES;
					tempTime.Seconds = pointer;
					pointer = tempTime.Minutes;
					break;
				default:
					break;
				}
				break;
			case 0x0100: // short center -- OK
				switch (state) {
				case WE_CHANGE_HOURS:
					state = WE_CHANGE_MINUTES;
					pointer_max = 59;
					tempTime.Hours = pointer;
					pointer = tempTime.Minutes;
					break;
				case WE_CHANGE_MINUTES:
					state = WE_CHANGE_SECONDS;
					tempTime.Minutes = pointer;
					pointer = tempTime.Seconds;
					break;
				case WE_CHANGE_SECONDS:
					tempTime.Seconds = pointer;
					pointer = 1;
					return tempTime;
				default:
					break;
				}
				break;
			case 0x0200: // long center -- cancel
				pointer = 1;
				memset(&tempTime, 0, sizeof(RTC_TimeTypeDef));
				return tempTime;
			default:
				break;
			}
			btns = 0;
		}
		if (update) {
			update = 0;
			do {
				u8g2_SetDrawColor(&u8g2, 0);
				u8g2_DrawBox(&u8g2, 0, 33, 128, 15);
				u8g2_SetDrawColor(&u8g2, 1);
				switch (state) {
				case WE_CHANGE_HOURS:
					sprintf((char*) stime, "%02d:%02d:%02d", pointer,
							tempTime.Minutes, tempTime.Seconds);
					break;
				case WE_CHANGE_MINUTES:
					sprintf((char*) stime, "%02d:%02d:%02d", tempTime.Hours,
							pointer, tempTime.Seconds);
					break;
				case WE_CHANGE_SECONDS:
					sprintf((char*) stime, "%02d:%02d:%02d", tempTime.Hours,
							tempTime.Minutes, pointer);
					break;
				default:
					break;
				}
				u8g2_DrawUTF8(&u8g2, 1, 46, (const char*) stime);
				u8g2_SetDrawColor(&u8g2, 2);
				u8g2_DrawBox(&u8g2, 18 * (uint8_t) state, 37, 13, 11);
			} while (u8g2_NextPage(&u8g2));
		}
	}
}

static uint16_t StateMenuO(uint8_t arg) {
	pointer = 0;
	uint16_t oState;
	uint8_t c[13], stime[24];
	pointer_max = 4;
	btns = 0;
	while (1) {
		BtnCheck();
		if (btns) {
			switch (btns) {
			case 0x0100: // short center -- OK
				oState = pointer;
				pointer = 0;
				return oState;
			case 0x0200: // long center -- cancel
				pointer = 0;
				return 0;
			default:
				break;
			}
			btns = 0;
		}
		if (update) {
			update = 0;
			do {
				u8g2_SetDrawColor(&u8g2, 0);
				u8g2_DrawBox(&u8g2, 0, 17, 128, 15);
				u8g2_SetDrawColor(&u8g2, 1);
				switch (pointer) {
				case 1:
					sprintf((char*) c, "Слабо");
					break;
				case 2:
					sprintf((char*) c, "Низ");
					break;
				case 3:
					sprintf((char*) c, "Верх");
					break;
				case 4:
					sprintf((char*) c, "Сильно");
					break;
				default:
					sprintf((char*) c, "Выкл");
					break;
				}
				sprintf((char*) stime, "Режим:%s", c);
				u8g2_DrawUTF8(&u8g2, 1, 30, (const char*) stime);
				u8g2_SetDrawColor(&u8g2, 2);
				u8g2_DrawHLine(&u8g2, 0, 31, 128);
			} while (u8g2_NextPage(&u8g2));
		}
	}
}

// TEMPLATE MENU
//void TEMPLATEMENU(uint8_t arg) {
//	pointer_max = ;
//	pointer = 0;
//  btns = 0;
//	while (1) {
//		BtnCheck();
//		if (btns) {
//			switch (btns) {
//			case 0x0001: // short right
//				break;
//			case 0x0002: // long right
//				break;
//			case 0x0004: // short up
//				break;
//			case 0x0008: // long up
//				break;
//			case 0x0010: // short down
//				break;
//			case 0x0020: // long down
//				break;
//			case 0x0040: // short left
//				break;
//			case 0x0080: // long left
//				break;
//			case 0x0100: // short center
//				break;
//			case 0x0200: // long center
//				break;
//			default:
//				break;
//			}
//			btns = 0;
//		}
//		if (update) {
//			update = 0;
//			u8g2_FirstPage(&u8g2);
//			do {
//
//			} while (u8g2_NextPage(&u8g2));
//		}
//	}
//}
/* USER CODE END 4 */

void Error_Handler(void)
{
}

/*****END OF FILE****/
